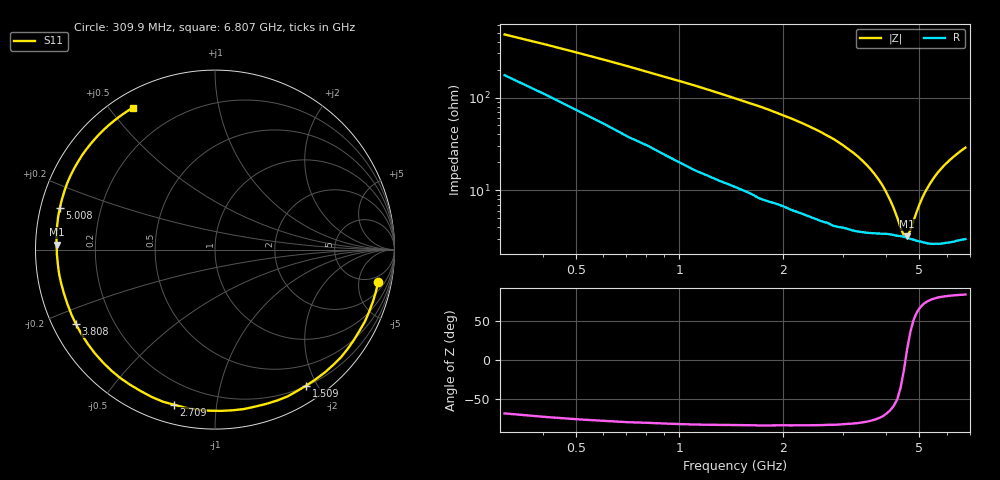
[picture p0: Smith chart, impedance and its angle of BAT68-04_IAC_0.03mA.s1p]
! Infineon Technologies  Discrete & RF Semiconductors
! BAT68-04
! IAC = 0.03 mA
! One-Port S-Parameters
# Hz  S  MA  R  50
!f  S11
!Hz  Mag  Ang
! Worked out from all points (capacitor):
!   66 points, 309.9 MHz to 6.807 GHz, reference 50 ohm
!   read as one part to ground: C = 1.08 pF near 309.9 MHz
!   lowest |Z| = 3.21 ohm at 4.608 GHz (marker M1)
!   series resonance near 4.556 GHz, so ESL is about 1.1 nH
!   S11 on the Smith chart (normalised r, x): 309.9 MHz: 3.47, -8.90; 1.509 GHz: 0.21, -1.86; 2.709 GHz: 0.09, -0.76; 3.808 GHz: 0.07, -0.25; 5.008 GHz: 0.06, +0.13; 6.807 GHz: 0.06, +0.57
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3.0985e8  0.9273 -11.2
5.0975e8  0.9264 -18.4
7.0965e8  0.9263 -25.7
1.0095e9  0.9233 -36.8
1.2094e9  0.9202 -44.4
1.50925e9  0.9125 -56.1
1.70915e9  0.9123 -63.6
2.009e9  0.9028 -75.9
2.2089e9  0.9006 -83.8
2.4088e9  0.898 -92.2
2.6087e9  0.8965 -100.5
2.70865e9  0.8939 -104.9
2.8086e9  0.8957 -108.9
3.0085e9  0.8903 -117.8
3.2084e9  0.8891 -126.3
3.4083e9  0.8857 -134.9
3.6082e9  0.8823 -143.4
3.8081e9  0.8791 -151.7
4.10795e9  0.8764 -163.7
4.4078e9  0.8794 -174.7
4.6077e9  0.8831 178.2
4.8076e9  0.8894 171.6
5.0075e9  0.8951 165.1
5.2074e9  0.9001 158.8
5.6072e9  0.9066 147.2
6.007e9  0.9098 137.2
6.30685e9  0.9116 130.3
6.8066e9  0.9141 120.2
